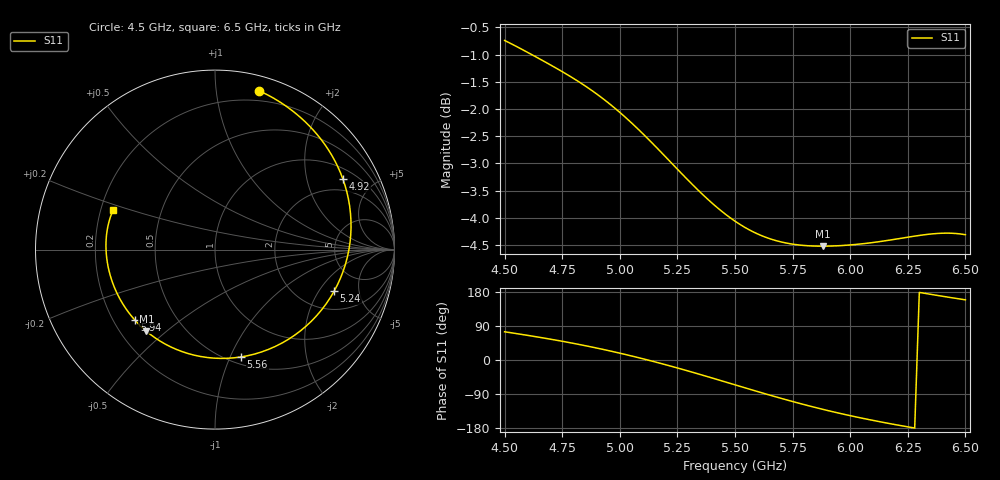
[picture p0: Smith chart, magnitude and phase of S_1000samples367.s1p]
! TOUCHSTONE file generated by CST MICROWAVE STUDIO
! Date and time: Thu Oct 27 22:28:12 2022
! Project name: L.cst
! Parameters = {Di=1.27; Epsilon_r=1.56; InnerDiameter=1.27; Length=2; Lf=10; Lg=60; OuterConductorThickness=0.2921; OuterDiameter=3.6; Wf=3; Wp=41.2; de=1.5; df=6.8; g=0.8; gx=2.59964; gy=1.74084; h=2.34; hf=1.524; px=11.0846; py=10.0691; w=9.7; wx=8.48491; wy=8.32827}
! Header version: 2018
! Port assignment regex: !\s*Touchstone port\s*([0-9]+)\s*=\s*(CST MWS port|CST DS port)\s*([0-9]+|Zmin|Zmax)\s*\(\"(.*)\"\)(\s*mode\s*([0-9]+))?.*
! Touchstone port assignment:
! Touchstone port 1 = CST MWS port 1 ("")
# GHz S DB R 50
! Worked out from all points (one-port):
!   101 points, 4.5 GHz to 6.5 GHz, reference 50 ohm
!   lowest |S11| = -4.5 dB at 5.88 GHz (marker M1), VSWR 3.93, Z = 15.3 - j21.5 ohm
!   |S11| at or under -10 dB: nowhere
!   S11 on the Smith chart (normalised r, x): 4.5 GHz: 0.12, +1.31; 4.92 GHz: 1.42, +3.31; 5.24 GHz: 3.02, -2.78; 5.56 GHz: 0.57, -1.10; 5.94 GHz: 0.29, -0.35; 6.5 GHz: 0.25, +0.18
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4.5  -0.74 74.5
4.56  -0.87 68.9
4.64  -1.05 61.0
4.76  -1.34 48.3
4.84  -1.55 39.0
4.92  -1.79 28.9
5  -2.06 18.0
5.06  -2.29 9.3
5.12  -2.54 0.2
5.18  -2.80 -9.4
5.24  -3.06 -19.3
5.26  -3.15 -22.7
5.32  -3.41 -33.1
5.38  -3.65 -43.8
5.44  -3.87 -54.6
5.5  -4.06 -65.5
5.56  -4.22 -76.4
5.6  -4.30 -83.6
5.66  -4.40 -94.2
5.76  -4.49 -111.2
5.82  -4.52 -120.8
5.88  -4.52 -130.0
5.94  -4.52 -138.7
6  -4.50 -146.9
6.12  -4.44 -161.9
6.26  -4.35 -177.5
6.38  -4.29 170.3
6.5  -4.31 158.8
